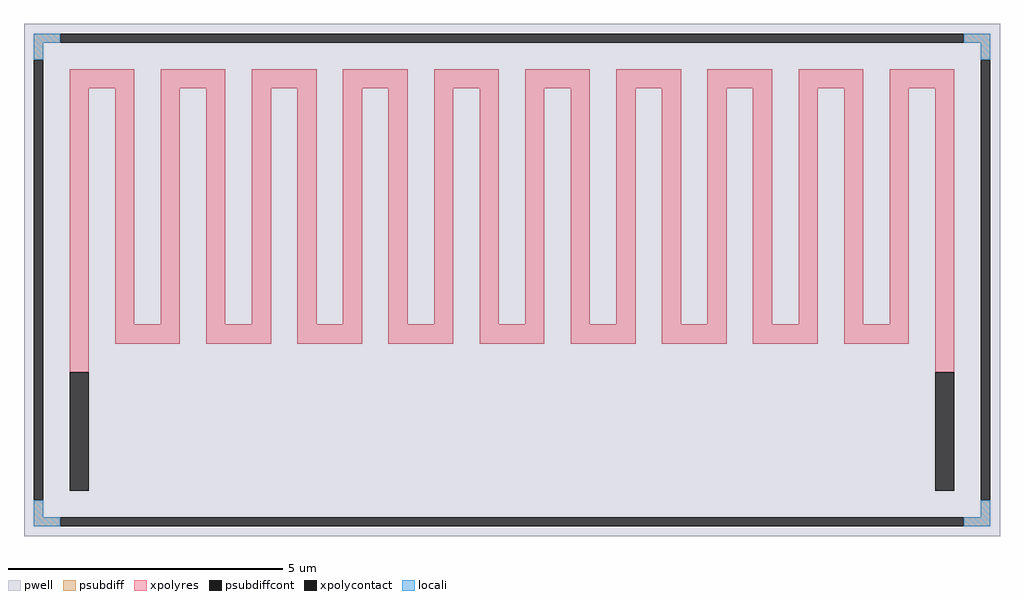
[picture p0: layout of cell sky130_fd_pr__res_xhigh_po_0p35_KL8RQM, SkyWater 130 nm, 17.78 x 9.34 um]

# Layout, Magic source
magic
tech sky130A
<< pwell >>
rect -889 -467 889 467
<< psubdiff >>
rect -871 432 -823 449
rect 823 432 871 449
rect -871 401 -854 432
rect 854 401 871 432
rect -871 -432 -854 -401
rect 854 -432 871 -401
rect -871 -449 -823 -432
rect 823 -449 871 -432
<< psubdiffcont >>
rect -823 432 823 449
rect -871 -401 -854 401
rect 854 -401 871 401
rect -823 -449 823 -432
<< xpolycontact >>
rect -806 -384 -771 -168
rect 771 -384 806 -168
<< xpolyres >>
rect -806 349 -688 384
rect -806 -168 -771 349
rect -723 -81 -688 349
rect -640 349 -522 384
rect -640 -81 -605 349
rect -723 -116 -605 -81
rect -557 -81 -522 349
rect -474 349 -356 384
rect -474 -81 -439 349
rect -557 -116 -439 -81
rect -391 -81 -356 349
rect -308 349 -190 384
rect -308 -81 -273 349
rect -391 -116 -273 -81
rect -225 -81 -190 349
rect -142 349 -24 384
rect -142 -81 -107 349
rect -225 -116 -107 -81
rect -59 -81 -24 349
rect 24 349 142 384
rect 24 -81 59 349
rect -59 -116 59 -81
rect 107 -81 142 349
rect 190 349 308 384
rect 190 -81 225 349
rect 107 -116 225 -81
rect 273 -81 308 349
rect 356 349 474 384
rect 356 -81 391 349
rect 273 -116 391 -81
rect 439 -81 474 349
rect 522 349 640 384
rect 522 -81 557 349
rect 439 -116 557 -81
rect 605 -81 640 349
rect 688 349 806 384
rect 688 -81 723 349
rect 605 -116 723 -81
rect 771 -168 806 349
<< locali >>
rect -871 432 -823 449
rect 823 432 871 449
rect -871 401 -854 432
rect 854 401 871 432
rect -871 -432 -854 -401
rect 854 -432 871 -401
rect -871 -449 -823 -432
rect 823 -449 871 -432
<< properties >>
string FIXED_BBOX -862 -440 862 440
string gencell sky130_fd_pr__res_xhigh_po_0p35
string library sky130
string parameters w 0.35 l 5 m 1 nx 20 wmin 0.350 lmin 0.50 rho 2000 val 610.504k dummy 0 dw 0.0 term 188.2 sterm 0.0 caplen 0 wmax 0.350 guard 1 glc 1 grc 1 gtc 1 gbc 1 compatible {sky130_fd_pr__res_xhigh_po_0p35  sky130_fd_pr__res_xhigh_po_0p69 sky130_fd_pr__res_xhigh_po_1p41  sky130_fd_pr__res_xhigh_po_2p85 sky130_fd_pr__res_xhigh_po_5p73} snake 1 full_metal 1 n_guard 0 hv_guard 0 vias 1 viagb 0 viagt 0 viagl 0 viagr 0
<< end >>
